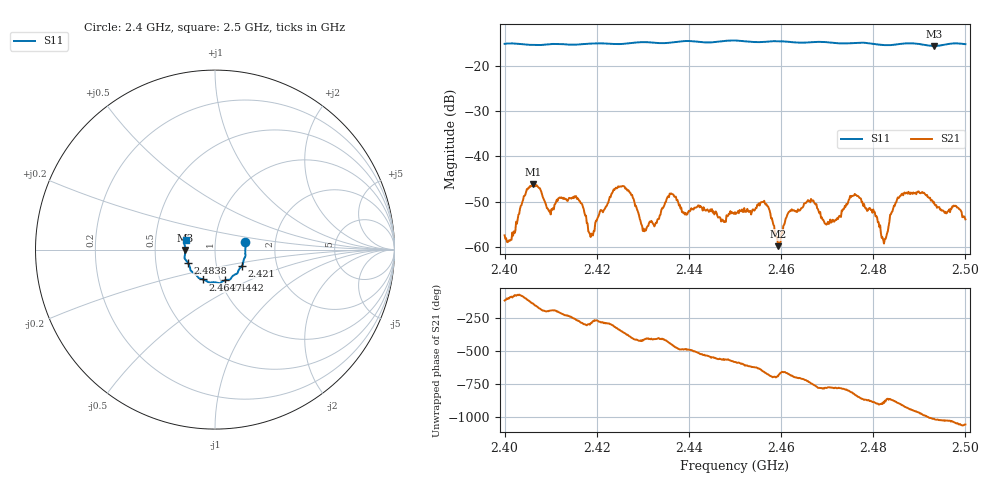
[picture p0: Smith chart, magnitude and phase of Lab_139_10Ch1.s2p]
# Hz S RI R 50
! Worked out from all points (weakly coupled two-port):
!   601 points, 2.4 GHz to 2.5 GHz, reference 50 ohm
!   highest |S21| = -46.18 dB at 2.4062 GHz (marker M1); lowest = -59.8 dB at 2.4593 GHz (marker M2)
!   lowest |S11| = -15.7 dB at 2.4932 GHz (marker M3), VSWR 1.40, Z = 35.8 - j0.115 ohm
!   |S11| at or under -10 dB: start of sweep to end of sweep
!   S12 and S22 are empty: the file has one direction only
!   S11 on the Smith chart (normalised r, x): 2.4 GHz: 1.40, +0.12; 2.421 GHz: 1.33, -0.24; 2.4442 GHz: 1.05, -0.37; 2.4647 GHz: 0.83, -0.28; 2.4838 GHz: 0.73, -0.11; 2.5 GHz: 0.71, +0.08
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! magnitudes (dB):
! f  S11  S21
! 2.4 GHz  -15.2  -57.4
! 2.4062 GHz  -15.4  -46.2
! 2.4097 GHz  -15.3  -52.2
! 2.4167 GHz  -15.3  -50.4
! 2.4187 GHz  -15.1  -57.8
! 2.421 GHz  -15.1  -51.9
! 2.4255 GHz  -15.2  -46.6
! 2.4302 GHz  -14.8  -56.0
! 2.4333 GHz  -15.0  -53.8
! 2.4362 GHz  -14.9  -48.2
! 2.4442 GHz  -14.9  -52.0
! 2.45 GHz  -14.5  -52.3
! 2.4563 GHz  -14.8  -49.8
! 2.4593 GHz  -14.6  -59.8
! 2.4647 GHz  -14.9  -51.3
! 2.4667 GHz  -14.8  -49.8
! 2.47 GHz  -14.8  -54.9
! 2.4763 GHz  -15.0  -48.6
! 2.4833 GHz  -15.5  -55.4
! 2.4838 GHz  -15.5  -52.8
! 2.4932 GHz  -15.7  -50.1
! 2.5 GHz  -15.3  -53.9
